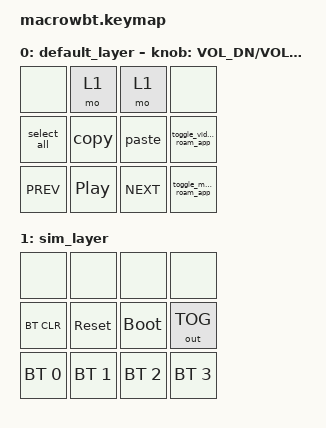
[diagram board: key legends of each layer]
#include <behaviors.dtsi>
#include <dt-bindings/zmk/bt.h>
#include <dt-bindings/zmk/keys.h>
#include <dt-bindings/zmk/outputs.h>

#define BASE 0
#define BT_LAYER 1

/ {
    macros {
        copy: copy {
            compatible = "zmk,behavior-macro";
            #binding-cells = <0>;
            bindings = <&kp LC(C)>;
            label = "COPY";
        };

        paste: paste {
            compatible = "zmk,behavior-macro";
            #binding-cells = <0>;
            bindings = <&kp LC(V)>;
            label = "PASTE";
        };

        select_all: select_all {
            compatible = "zmk,behavior-macro";
            #binding-cells = <0>;
            bindings = <&kp LC(A)>;
            label = "SELECT_ALL";
        };

        toggle_mute_roam_app: toggle_mute_roam_app {
            compatible = "zmk,behavior-macro";
            #binding-cells = <0>;
            bindings = <&kp LS(LC(A))>;
            label = "TOGGLE_MUTE_ROAM_APP";
        };

        toggle_video_roam_app: toggle_video_roam_app {
            compatible = "zmk,behavior-macro";
            #binding-cells = <0>;
            bindings = <&kp LS(LC(V))>;
            label = "TOGGLE_VIDEO_ROAM_APP";
        };
    };

    keymap {
        compatible = "zmk,keymap";

        default_layer {
            bindings = <
&none        &mo 1     &mo 1       &none
&select_all  &copy     &paste      &toggle_video_roam_app
&kp C_PREV   &kp C_PP  &kp C_NEXT  &toggle_mute_roam_app
            >;

            sensor-bindings =
                <&inc_dec_kp C_VOL_DN C_VOL_UP>,
                <&inc_dec_kp PAGE_UP PAGE_DOWN>;
        };

        sim_layer {
            bindings = <
&none         &none         &none         &none
&bt BT_CLR    &sys_reset    &bootloader   &out OUT_TOG
&bt BT_SEL 0  &bt BT_SEL 1  &bt BT_SEL 2  &bt BT_SEL 3
            >;
        };
    };
};
